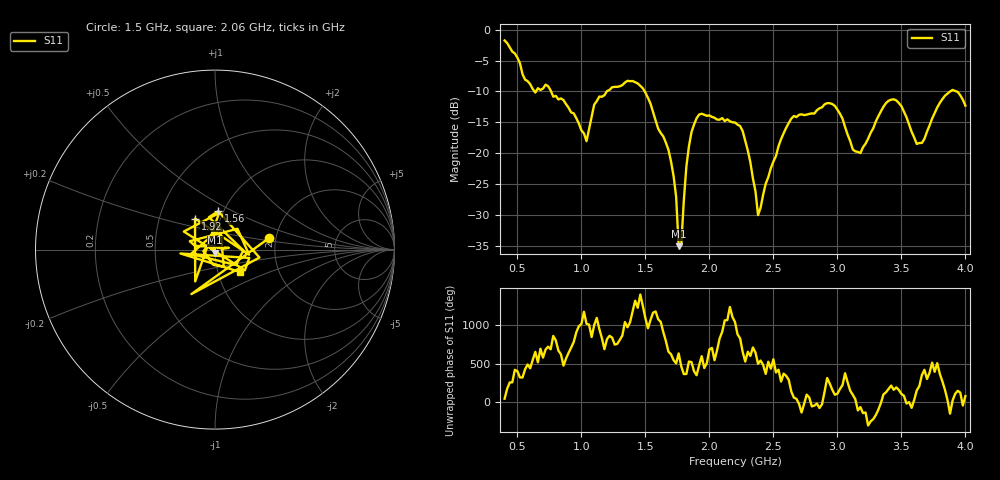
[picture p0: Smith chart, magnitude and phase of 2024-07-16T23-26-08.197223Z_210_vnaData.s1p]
!Created with skrf (http://scikit-rf.org).
# Hz S RI R 50.0
!freq ReS11 ImS11
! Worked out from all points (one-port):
!   181 points, 400 MHz to 4 GHz, reference 50 ohm
!   lowest |S11| = -35.0 dB at 1.76 GHz (marker M1), VSWR 1.04, Z = 50.1 - j1.77 ohm
!   |S11| at or under -10 dB: 763.3 MHz to 1.198 GHz (434.7 MHz wide, 44.3 % of centre); 1.495 GHz to 3.881 GHz (2.386 GHz wide, 88.8 % of centre); 3.931 GHz to end of sweep (the widest 3 of 4)
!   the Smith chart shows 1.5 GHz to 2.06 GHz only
!   S11 on the Smith chart (normalised r, x): 1.5 GHz: 1.84, +0.26; 1.56 GHz: 0.95, +0.42; 1.92 GHz: 0.76, +0.27; 2.06 GHz: 1.28, -0.33
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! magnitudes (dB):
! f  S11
! 400 MHz  -1.7
! 640 MHz  -10.2
! 860 MHz  -11.4
! 1.04 GHz  -18.0
! 1.1 GHz  -12.1
! 1.3 GHz  -9.2
! 1.5 GHz  -10.2
! 1.56 GHz  -13.4
! 1.7 GHz  -21.3
! 1.74 GHz  -27.0
! 1.76 GHz  -35.0
! 1.78 GHz  -34.9
! 1.82 GHz  -22.1
! 1.84 GHz  -18.9
! 1.92 GHz  -13.7
! 2.06 GHz  -14.5
! 2.2 GHz  -15.0
! 2.3 GHz  -19.5
! 2.38 GHz  -30.0
! 2.66 GHz  -14.0
! 2.96 GHz  -12.0
! 3.1 GHz  -18.0
! 3.18 GHz  -20.0
! 3.42 GHz  -11.3
! 3.56 GHz  -15.3
! 3.66 GHz  -18.3
! 3.84 GHz  -10.7
! 4 GHz  -12.3
